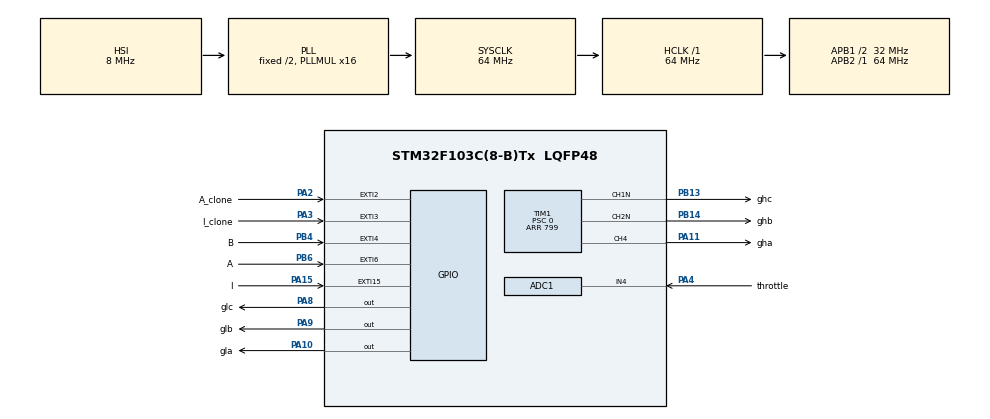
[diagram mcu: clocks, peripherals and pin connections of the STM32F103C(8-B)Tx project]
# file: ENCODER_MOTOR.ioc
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ADC1.Channel-0\#ChannelRegularConversion=ADC_CHANNEL_4
ADC1.ContinuousConvMode=ENABLE
ADC1.NbrOfConversionFlag=1
ADC1.Rank-0\#ChannelRegularConversion=1
ADC1.SamplingTime-0\#ChannelRegularConversion=ADC_SAMPLETIME_1CYCLE_5
ADC1.master=1
Mcu.Family=STM32F1
Mcu.Name=STM32F103C(8-B)Tx
Mcu.Package=LQFP48
NVIC.EXTI15_10_IRQn=true\:0\:0\:false\:false\:true\:true\:true\:true
NVIC.EXTI4_IRQn=true\:0\:0\:false\:false\:true\:true\:true\:true
NVIC.EXTI9_5_IRQn=true\:0\:0\:false\:false\:true\:true\:true\:true
NVIC.PriorityGroup=NVIC_PRIORITYGROUP_4
PA10.GPIO_Label=gla
PA10.Signal=GPIO_Output
PA11.GPIO_Label=gha
PA11.Signal=S_TIM1_CH4
PA13.Mode=Serial_Wire
PA13.Signal=SYS_JTMS-SWDIO
PA14.Mode=Serial_Wire
PA14.Signal=SYS_JTCK-SWCLK
PA15.GPIO_Label=I
PA15.GPIO_PuPd=GPIO_PULLUP
PA15.Signal=GPXTI15
PA2.GPIO_Label=A_clone
PA2.GPIO_PuPd=GPIO_PULLUP
PA2.Signal=GPXTI2
PA3.GPIO_Label=I_clone
PA3.GPIO_PuPd=GPIO_PULLUP
PA3.Signal=GPXTI3
PA4.GPIO_Label=throttle
PA4.Signal=ADCx_IN4
PA8.GPIO_Label=glc
PA8.Signal=GPIO_Output
PA9.GPIO_Label=glb
PA9.Signal=GPIO_Output
PB13.GPIO_Label=ghc
PB13.Mode=PWM Generation1 CH1N
PB13.Signal=TIM1_CH1N
PB14.GPIO_Label=ghb
PB14.Mode=PWM Generation2 CH2N
PB14.Signal=TIM1_CH2N
PB4.GPIO_Label=B
PB4.GPIO_ModeDefaultEXTI=GPIO_MODE_IT_RISING
PB4.GPIO_PuPd=GPIO_PULLUP
PB4.Signal=GPXTI4
PB6.GPIO_Label=A
PB6.GPIO_PuPd=GPIO_PULLUP
PB6.Signal=GPXTI6
PD0-OSC_IN.Mode=HSE-External-Oscillator
PD0-OSC_IN.Signal=RCC_OSC_IN
PD1-OSC_OUT.Mode=HSE-External-Oscillator
PD1-OSC_OUT.Signal=RCC_OSC_OUT
ProjectManager.HeapSize=0x200
ProjectManager.StackSize=0x400
ProjectManager.TargetToolchain=STM32CubeIDE
RCC.ADCPresc=RCC_ADCPCLK2_DIV8
RCC.AHBFreq_Value=64000000
RCC.APB1CLKDivider=RCC_HCLK_DIV2
RCC.APB1Freq_Value=32000000
RCC.APB1TimFreq_Value=64000000
RCC.APB2Freq_Value=64000000
RCC.APB2TimFreq_Value=64000000
RCC.HCLKFreq_Value=64000000
RCC.PLLMUL=RCC_PLL_MUL16
RCC.SYSCLKFreq_VALUE=64000000
RCC.SYSCLKSource=RCC_SYSCLKSOURCE_PLLCLK
RCC.USBFreq_Value=64000000
SH.ADCx_IN4.0=ADC1_IN4,IN4
SH.S_TIM1_CH4.0=TIM1_CH4,PWM Generation4 CH4
TIM1.AutoReloadPreload=TIM_AUTORELOAD_PRELOAD_ENABLE
TIM1.Channel-PWM\ Generation1\ CH1N=TIM_CHANNEL_1
TIM1.Channel-PWM\ Generation2\ CH2N=TIM_CHANNEL_2
TIM1.Channel-PWM\ Generation4\ CH4=TIM_CHANNEL_4
TIM1.Period=799
TIM1.Prescaler=0
VP_TIM1_VS_ClockSourceINT.Mode=Internal
board=custom

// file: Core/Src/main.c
/* USER CODE BEGIN Header */
/**
  ******************************************************************************
  * @file           : main.c
  * @brief          : Main program body
  ******************************************************************************
  * @attention
  *
  * Copyright (c) 2024 STMicroelectronics.
  * All rights reserved.
  *
  * This software is licensed under terms that can be found in the LICENSE file
  * in the root directory of this software component.
  * If no LICENSE file comes with this software, it is provided AS-IS.
  *
  ******************************************************************************
  */
/* USER CODE END Header */
#include "main.h"
#include "adc.h"
#include "tim.h"
#include "gpio.h"

/* USER CODE BEGIN PTD */
#define CPT 512
#define STARTUP 1
#define RUNNING 2
#define MEASURE 3
#define PAUSE 4
#define EXC_TIME 100
#define EXC_THROTTLE 85
#define STOP 0
#define comm_in_a_rev 48
//#define DELTA_C_MAX 42
/* USER CODE END PTD */

/* USER CODE BEGIN PV */
float adc_val=0;
float throttle=0;
uint8_t et, p_et=0;
int state = STOP, pstate = STOP;
volatile int delta_c = 0;
int h1 = 0, h2 = 0, h3 = 0;
int seq[6] = { 6, 4, 5, 1, 3, 2};
int order = 5;
volatile int A = 0, B = 0, I = 0;
int check = 0;
int shift = 0;
int enc_state = 0;
int n_enc_state = -1;
int delta_c_captured = 0;
//int DELTA_C_MAX = 42;
int DELTA_C_MAX = 11;
int count = 100;
uint8_t dir = 0; // 0-> left tyre, 1-> right tyre
int offset = 0;
int position = 0, position_captured = 0;
int sector = 0;
/* USER CODE END PV */

void SystemClock_Config(void);
/* USER CODE BEGIN PFP */
inline int capture_throttle(void);
void UpdateCommutation(void);
void SignalCommutation(int);
void nextState(void);
//void switch_enc_state(void);
/* USER CODE END PFP */

int main(void)
{
  /* USER CODE BEGIN 1 */
//26 45 47 52
  /* USER CODE END 1 */

  /* MCU Configuration--------------------------------------------------------*/

  /* Reset of all peripherals, Initializes the Flash interface and the Systick. */
  HAL_Init();

  /* Configure the system clock */
  SystemClock_Config();

  /* Initialize all configured peripherals */
  MX_GPIO_Init();
  MX_ADC1_Init();
  MX_TIM1_Init();
  /* USER CODE BEGIN 2 */
  HAL_TIMEx_PWMN_Start(&htim1, TIM_CHANNEL_1);
  HAL_TIMEx_PWMN_Start(&htim1, TIM_CHANNEL_2);
  HAL_TIM_PWM_Start(&htim1, TIM_CHANNEL_4);
  HAL_ADC_Start(&hadc1);
  A = (GPIOB->IDR & GPIO_PIN_6)?	(1)	:	(0);
  B = (GPIOB->IDR & GPIO_PIN_4)?	(1)	:	(0);
  p_et = A << 1 | B ;
//  switch_enc_state();
//  UpdateCommutation();
  /* USER CODE END 2 */

  /* Infinite loop */
  /* USER CODE BEGIN WHILE */
  // 6 -> 4 -> 5 -> 1 -> 3 -> 2
//  state = -1;
  while (1)
  {
	  switch(state)
	  {
	  	  case STOP :
	  		  throttle = capture_throttle();
	  		  SignalCommutation(7);
	  		  if(throttle > 0)
	  			  state = STARTUP;
	  		  pstate = STOP;
	  		  check = 0;
	      break;

	  	  case STARTUP:
	  		  throttle = EXC_THROTTLE;
//	  		  dir = 1;//1-> left tyre, 0 -> right tyre
			  nextState();
			  SignalCommutation(order);
			  HAL_Delay(EXC_TIME);
	  		  pstate = STARTUP;
	  		  throttle = capture_throttle();
	  		  if(throttle == 0) state = STOP;
	  		  else if(state != RUNNING) state = STARTUP;
	  	  break;

	  	  case RUNNING://26 45 47 52

	  		  throttle = capture_throttle();
	  		  //UpdateCommutation();
//	  		  SignalCommutation(order);
//	  		 state = (throttle == 0) ? STOP : RUNNING;
	  		 if(throttle == 0) state = PAUSE;
	  		 pstate = RUNNING;
	      break;

	  	  case PAUSE:
	  		  throttle = capture_throttle();
	  		  UpdateCommutation();
	  		  if(throttle > 100)
	  			  state = RUNNING;
	  	  break;
	  	  default:
	  		  state = STOP;

	  }
    /* USER CODE END WHILE */

  }
}

void SystemClock_Config(void)
{
  RCC_OscInitTypeDef RCC_OscInitStruct = {0};
  RCC_ClkInitTypeDef RCC_ClkInitStruct = {0};
  RCC_PeriphCLKInitTypeDef PeriphClkInit = {0};

  /** Initializes the RCC Oscillators according to the specified parameters
  * in the RCC_OscInitTypeDef structure.
  */
  RCC_OscInitStruct.OscillatorType = RCC_OSCILLATORTYPE_HSI;
  RCC_OscInitStruct.HSIState = RCC_HSI_ON;
  RCC_OscInitStruct.HSICalibrationValue = RCC_HSICALIBRATION_DEFAULT;
  RCC_OscInitStruct.PLL.PLLState = RCC_PLL_ON;
  RCC_OscInitStruct.PLL.PLLSource = RCC_PLLSOURCE_HSI_DIV2;
  RCC_OscInitStruct.PLL.PLLMUL = RCC_PLL_MUL16;
  if (HAL_RCC_OscConfig(&RCC_OscInitStruct) != HAL_OK)
  {
    Error_Handler();
  }

  /** Initializes the CPU, AHB and APB buses clocks
  */
  RCC_ClkInitStruct.ClockType = RCC_CLOCKTYPE_HCLK|RCC_CLOCKTYPE_SYSCLK
                              |RCC_CLOCKTYPE_PCLK1|RCC_CLOCKTYPE_PCLK2;
  RCC_ClkInitStruct.SYSCLKSource = RCC_SYSCLKSOURCE_PLLCLK;
  RCC_ClkInitStruct.AHBCLKDivider = RCC_SYSCLK_DIV1;
  RCC_ClkInitStruct.APB1CLKDivider = RCC_HCLK_DIV2;
  RCC_ClkInitStruct.APB2CLKDivider = RCC_HCLK_DIV1;

  if (HAL_RCC_ClockConfig(&RCC_ClkInitStruct, FLASH_LATENCY_2) != HAL_OK)
  {
    Error_Handler();
  }
  PeriphClkInit.PeriphClockSelection = RCC_PERIPHCLK_ADC;
  PeriphClkInit.AdcClockSelection = RCC_ADCPCLK2_DIV8;
  if (HAL_RCCEx_PeriphCLKConfig(&PeriphClkInit) != HAL_OK)
  {
    Error_Handler();
  }
}

/* USER CODE BEGIN 4 */
int capture_throttle()
{
	  int c_throttle = 0.0;
	  HAL_ADC_PollForConversion(&hadc1, HAL_MAX_DELAY);
	  adc_val = HAL_ADC_GetValue(&hadc1);

	  if (adc_val < 1300)
		  {
			c_throttle = 0;
		  }
	  else if (adc_val <= 2900)
		  {
			c_throttle = ((adc_val- 1300)*780)/1650;
		  }
	  else
		  {
			c_throttle = 780;
		  }
	  return c_throttle;
}

void HAL_GPIO_EXTI_Callback(uint16_t GPIO_Pin)
{
	if((GPIO_Pin == GPIO_PIN_6) || (GPIO_Pin == GPIO_PIN_2))//TX = PA2
	{
		if(state == RUNNING)
			if((delta_c == 0) || (delta_c == 11) || (delta_c == 21) || (delta_c == 32) || (delta_c == 42) || (delta_c == 53))
			{
				UpdateCommutation();
			}
		if(delta_c >= 0 && delta_c < 63)
		{
			delta_c = delta_c + 1;
		}
		else
		{
			delta_c = 0;
		}
//		delta_c = delta_c + 1;
//		delta_c %= 63;

	}
	if((GPIO_Pin == GPIO_PIN_15) || (GPIO_Pin == GPIO_PIN_3))//RX = PA3
	{
		if(pstate == STARTUP)
		{
			delta_c = 0;
			state = RUNNING;
		}
		position_captured = position;
		if(position_captured >= 500 && position_captured <= 520)
		{
			delta_c = 0;
		}
		position = 0;
	}
}
void UpdateCommutation()
{
//	A = (GPIOB->IDR & GPIO_PIN_6)?	(1)	:	(0);
//	B = (GPIOB->IDR & GPIO_PIN_4)?	(1)	:	(0);
//	I = (GPIOA->IDR & GPIO_PIN_15)?	(1)	:	(0);
//	et = A << 1 | B;

//	delta_c += 1;

	if(adc_val < 1100 || delta_c < 0)
	  {
		SignalCommutation(7);
//		  TIM1 -> CCR1 = 0;				//ghc off
//		  TIM1 -> CCR4 = 0;				//gha off
//		  GPIOA -> BSRR	= GPIO_BSRR_BR9;//glb off
//		  GPIOA -> BSRR = GPIO_BSRR_BR10;//gla off
//		  GPIOA -> BSRR	 = GPIO_BSRR_BR8; //glc on
//		  TIM1 -> CCR2 = 0;		//ghb on
	  }
	else if(delta_c >= 42 && delta_c <= 52)//6
	 {//GLC GHB
		if(dir)
			SignalCommutation(5);
		else
			SignalCommutation(5);
		  //GLA GHB
//		  TIM1 -> CCR1 = 0;				//ghc off
//		  TIM1 -> CCR4 = 0;				//gha off
//		  GPIOA -> BSRR	= GPIO_BSRR_BR9;//glb off
//		  GPIOA -> BSRR = GPIO_BSRR_BR8;//glc off
//		  GPIOA -> BSRR	 = GPIO_BSRR_BS10; //gla on
//		  TIM1 -> CCR2 = throttle;		//ghb on
	 }      		// GLC PWM ON

	else if(delta_c >= 53 && delta_c <= 63)//4
	  {
		  //GLC GHA
		if(dir)
			SignalCommutation(0);
		else
			SignalCommutation(4);
//		  TIM1 -> CCR1 = 0;				//ghc off
//		  TIM1 -> CCR4 = 0;				//gha off
//		  GPIOA -> BSRR	= GPIO_BSRR_BR9;//glb off
//		  GPIOA -> BSRR = GPIO_BSRR_BR10;//gla off
//		  GPIOA -> BSRR	 = GPIO_BSRR_BS8; //glc on
//		  TIM1 -> CCR2 = throttle;		//ghb on
	  }

	else if(delta_c >= 0 && delta_c <= 10){//5
	  //GLB GHA
		if(dir)
			SignalCommutation(1);
		else
			SignalCommutation(3);
		  //GLC GHA
//		  TIM1 -> CCR1 = 0;				//ghc off
//		  TIM1 -> CCR2 = 0;				//ghb off
//		  GPIOA -> BSRR	= GPIO_BSRR_BR9;//glb off
//		  GPIOA -> BSRR = GPIO_BSRR_BR10;//gla off
//		  GPIOA -> BSRR	 = GPIO_BSRR_BS8; //glc on
//		  TIM1 -> CCR4 = throttle;		//gha on
	}
	else if(delta_c >= 11 && delta_c <= 20){//1
		  //GLB GHC
		if(dir)
			SignalCommutation(2);
		else
			SignalCommutation(2);
		  //GLB GHA
//		  TIM1 -> CCR1 = 0;				//ghc off
//		  TIM1 -> CCR2 = 0;				//ghb off
//		  GPIOA -> BSRR	= GPIO_BSRR_BR8;//glc off
//		  GPIOA -> BSRR = GPIO_BSRR_BR10;//gla off
//		  GPIOA -> BSRR	 = GPIO_BSRR_BS9; //glb on
//		  TIM1 -> CCR4 = throttle;		//gha on
		}

	else if(delta_c >= 21 && delta_c <= 31){//3
		  //GLA GHC
		if(dir)
			SignalCommutation(3);
		else
			SignalCommutation(1);
		  //GLB GHC
//		  TIM1 -> CCR2 = 0;				//gha off
//		  TIM1 -> CCR4 = 0;				//gha off
//		  GPIOA -> BSRR	= GPIO_BSRR_BR8;//glc off
//		  GPIOA -> BSRR = GPIO_BSRR_BR10;//gla off
//		  GPIOA -> BSRR	 = GPIO_BSRR_BS9; //glb on
//		  TIM1 -> CCR1 = throttle;		//ghc on
		}

	else if(delta_c >= 32 && delta_c <= 41){//2
		  //GLA GHB
		if(dir)
			SignalCommutation(4);
		else
			SignalCommutation(0);
		  //GLA GHC
//		  TIM1 -> CCR2 = 0;				//ghb off
//		  TIM1 -> CCR4 = 0;				//gha off
//		  GPIOA -> BSRR	= GPIO_BSRR_BR9;//glb off
//		  GPIOA -> BSRR = GPIO_BSRR_BR8;//glc off
//		  GPIOA -> BSRR	 = GPIO_BSRR_BS10; //gla on
//		  TIM1 -> CCR1 = throttle;		//ghc on
	}

}

void nextState(){
	if(dir == 0){
	  if(order == 5) order = 0;
	  else order++;
	}
	else{
	  if(order == 0) order = 5;
	  else order--;
	}
}

void SignalCommutation(int ind)
{
		//uint8_t t = seq[ind];
		int t = ind;
//		sector = t;
		if(t==7 || adc_val < 1200)		//hall failure condition(t==7)
		  {
			  TIM1 -> CCR1 = 0;				//ghc off
			  TIM1 -> CCR4 = 0;				//gha off
			  GPIOA -> BSRR	= GPIO_BSRR_BR9;//glb off
			  GPIOA -> BSRR = GPIO_BSRR_BR10;//gla off
			  GPIOA -> BSRR	 = GPIO_BSRR_BR8; //glc on
			  TIM1 -> CCR2 = 0;		//ghb on
		  }

		/* for commutation stage sequence refer
		 * asynchronous 1xPWM from DRV8323
		 * datasheet table5 revised march22
		*/
		else if(t==0)//6
		 {//GLC GHB
			  TIM1 -> CCR1 = 0;				//ghc off
			  TIM1 -> CCR4 = 0;				//gha off
			  GPIOA -> BSRR	= GPIO_BSRR_BR9;//glb off
			  GPIOA -> BSRR = GPIO_BSRR_BR10;//gla off
			  GPIOA -> BSRR	 = GPIO_BSRR_BS8; //glc on
			  TIM1 -> CCR2 = throttle;		//ghb on
		 }      		// GLC PWM ON

		else if(t==1)//4
		  {
			  //GLC GHA
			  TIM1 -> CCR1 = 0;				//ghc off
			  TIM1 -> CCR2 = 0;				//ghb off
			  GPIOA -> BSRR	= GPIO_BSRR_BR9;//glb off
			  GPIOA -> BSRR = GPIO_BSRR_BR10;//gla off
			  GPIOA -> BSRR	 = GPIO_BSRR_BS8; //glc on
			  TIM1 -> CCR4 = throttle;		//gha on
		  }

		else if(t==2){//5
		  //GLB GHA
			  TIM1 -> CCR1 = 0;				//ghc off
			  TIM1 -> CCR2 = 0;				//ghb off
			  GPIOA -> BSRR	= GPIO_BSRR_BR8;//glc off
			  GPIOA -> BSRR = GPIO_BSRR_BR10;//gla off
			  GPIOA -> BSRR	 = GPIO_BSRR_BS9; //glb on
			  TIM1 -> CCR4 = throttle;		//gha on
		}

		else if(t==5){//2
			  //GLA GHB
			  TIM1 -> CCR1 = 0;				//ghc off
			  TIM1 -> CCR4 = 0;				//gha off
			  GPIOA -> BSRR	= GPIO_BSRR_BR9;//glb off
			  GPIOA -> BSRR = GPIO_BSRR_BR8;//glc off
			  GPIOA -> BSRR	 = GPIO_BSRR_BS10; //gla on
			  TIM1 -> CCR2 = throttle;		//ghb on
		}

		else if(t==3){//1
			  //GLB GHC
			  TIM1 -> CCR2 = 0;				//gha off
			  TIM1 -> CCR4 = 0;				//gha off
			  GPIOA -> BSRR	= GPIO_BSRR_BR8;//glc off
			  GPIOA -> BSRR = GPIO_BSRR_BR10;//gla off
			  GPIOA -> BSRR	 = GPIO_BSRR_BS9; //glb on
			  TIM1 -> CCR1 = throttle;		//ghc on
			}

		else if(t==4){//3
			  //GLA GHC
			  TIM1 -> CCR2 = 0;				//ghb off
			  TIM1 -> CCR4 = 0;				//gha off
			  GPIOA -> BSRR	= GPIO_BSRR_BR9;//glb off
			  GPIOA -> BSRR = GPIO_BSRR_BR8;//glc off
			  GPIOA -> BSRR	 = GPIO_BSRR_BS10; //gla on
			  TIM1 -> CCR1 = throttle;		//ghc on
			}
		else{
			  TIM1 -> CCR1 = 0;				//ghc off
			  TIM1 -> CCR4 = 0;				//gha off
			  GPIOA -> BSRR	= GPIO_BSRR_BR9;//glb off
			  GPIOA -> BSRR = GPIO_BSRR_BR10;//gla off
			  GPIOA -> BSRR	 = GPIO_BSRR_BR8; //glc on
			  TIM1 -> CCR2 = 0;		//ghb on
		}
}
/* USER CODE END 4 */

void Error_Handler(void)
{
  __disable_irq();
  while (1)
  {
  }
}
